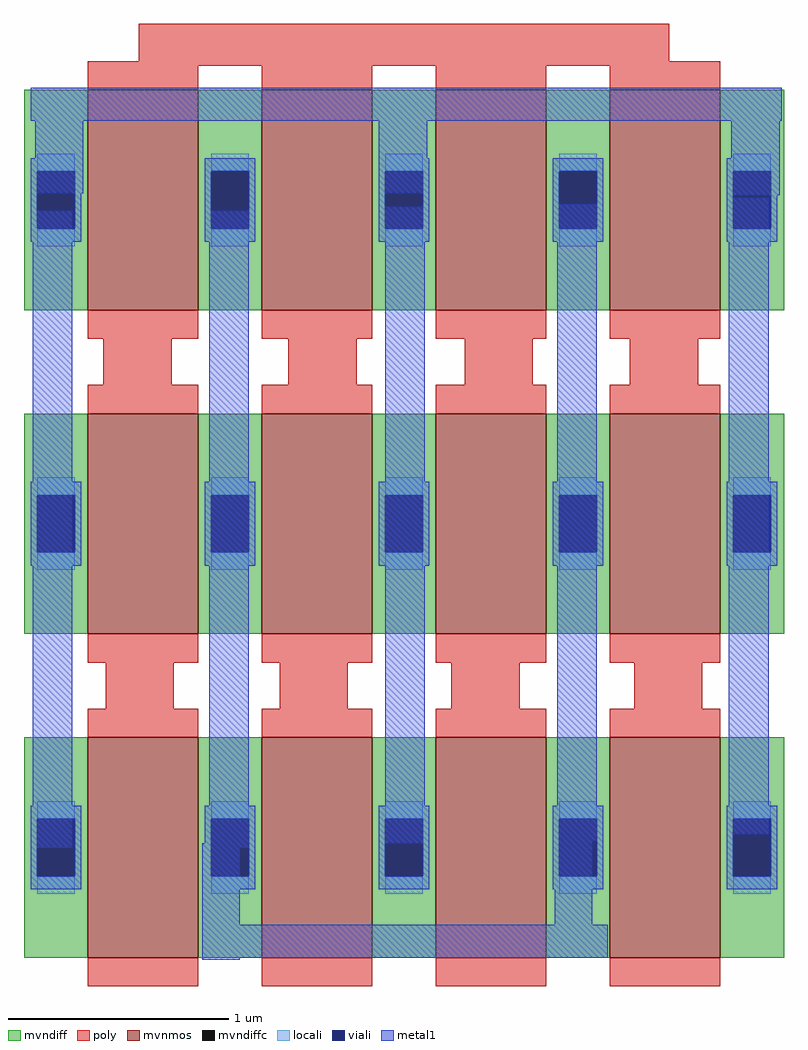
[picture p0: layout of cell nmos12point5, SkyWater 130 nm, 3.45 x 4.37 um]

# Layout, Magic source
magic
tech sky130A
magscale 1 2
<< poly >>
rect 104 836 586 874
rect 72 536 134 608
rect 240 534 302 606
rect 400 534 462 606
rect 550 534 612 606
rect 74 236 136 308
rect 232 248 294 320
rect 388 238 450 310
rect 554 242 616 314
<< metal1 >>
rect 6 786 688 816
rect 10 720 54 786
rect 322 720 366 786
rect 642 718 686 786
rect 8 126 44 704
rect 168 130 204 704
rect 328 130 364 708
rect 484 138 520 710
rect 640 138 676 716
rect 482 132 520 138
rect 162 126 204 130
rect 162 56 196 126
rect 482 56 516 132
rect 162 26 530 56
rect 162 24 196 26
use sky130_fd_pr__nfet_g5v0d10v5_D8BYWP  sky130_fd_pr__nfet_g5v0d10v5_D8BYWP_0
transform 1 0 345 0 1 420
box -345 -420 345 420
<< end >>

# cell sky130_fd_pr__nfet_g5v0d10v5_D8BYWP: kit device sky130_fd_pr__nfet_g5v0d10v5, w 1 l 0.5 m 3 nf 4 diffcov 30 polycov 100 guard 0 glc 0 grc 0 gtc 0 gbc 0 tbcov 100 rlcov 100 topc 0 botc 0 poverlap 0 doverlap 1 lmin 0.50 wmin 0.42 compatible {sky130_fd_pr__nfet_01v8 sky130_fd_pr__nfet_01v8_lvt sky130_fd_bs_flash__special_sonosfet_star sky130_fd_pr__nfet_g5v0d10v5 sky130_fd_pr__nfet_05v0_nvt sky130_fd_pr__nfet_03v3_nvt} full_metal 0 viasrc 30 viadrn 30 viagate 100 viagb 0 viagr 0 viagl 0 viagt 0
